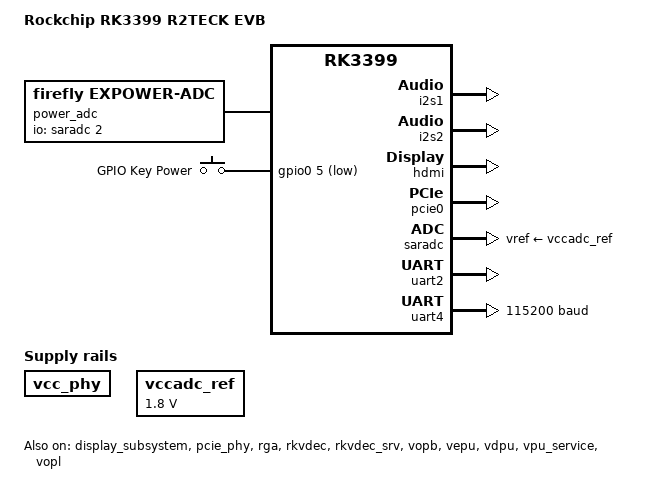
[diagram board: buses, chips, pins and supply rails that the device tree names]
/*
 * Copyright (c) 2018 SUMOMO Computer Association
 *
 * This file is dual-licensed: you can use it either under the terms
 * of the GPL or the X11 license, at your option. Note that this dual
 * licensing only applies to this file, and not this project as a
 * whole.
 *
 *  a) This file is free software; you can redistribute it and/or
 *     modify it under the terms of the GNU General Public License as
 *     published by the Free Software Foundation; either version 2 of the
 *     License, or (at your option) any later version.
 *
 *     This file is distributed in the hope that it will be useful,
 *     but WITHOUT ANY WARRANTY; without even the implied warranty of
 *     MERCHANTABILITY or FITNESS FOR A PARTICULAR PURPOSE.  See the
 *     GNU General Public License for more details.
 *
 * Or, alternatively,
 *
 *  b) Permission is hereby granted, free of charge, to any person
 *     obtaining a copy of this software and associated documentation
 *     files (the "Software"), to deal in the Software without
 *     restriction, including without limitation the rights to use,
 *     copy, modify, merge, publish, distribute, sublicense, and/or
 *     sell copies of the Software, and to permit persons to whom the
 *     Software is furnished to do so, subject to the following
 *     conditions:
 *
 *     The above copyright notice and this permission notice shall be
 *     included in all copies or substantial portions of the Software.
 *
 *     THE SOFTWARE IS PROVIDED "AS IS", WITHOUT WARRANTY OF ANY KIND,
 *     EXPRESS OR IMPLIED, INCLUDING BUT NOT LIMITED TO THE WARRANTIES
 *     OF MERCHANTABILITY, FITNESS FOR A PARTICULAR PURPOSE AND
 *     NONINFRINGEMENT. IN NO EVENT SHALL THE AUTHORS OR COPYRIGHT
 *     HOLDERS BE LIABLE FOR ANY CLAIM, DAMAGES OR OTHER LIABILITY,
 *     WHETHER IN AN ACTION OF CONTRACT, TORT OR OTHERWISE, ARISING
 *     FROM, OUT OF OR IN CONNECTION WITH THE SOFTWARE OR THE USE OR
 *     OTHER DEALINGS IN THE SOFTWARE.
 */

/dts-v1/;

#include "rk3399-excavator-sapphire.dtsi"
#include "rk3399-linux.dtsi"
#include <dt-bindings/input/input.h>

/ {
	model = "Rockchip RK3399 R2TECK EVB";
	compatible = "rockchip,rk3399-r2teck", "rockchip,rk3399";

	chosen {
		bootargs = "console=ttyS2,1500000 root=/dev/mmcblk1p7 rootwait init=/sbin/init";
		stdout-path = "serial2:1500000n8";
	};

	/* work */
	pwm_breathing_led: pwm_breathing_led {
		status = "disabled";
		compatible = "pwm-leds";
		pwms = <&pwm0 1 10000>;
		max-brightness = <127>;
	};

	/* freq switch and bind key */
	key_adc: key_adc {
		status = "disabled";
		compatible = "adc-keys";
		io-channels = <&saradc 1>;
		io-channel-names = "buttons";
	};

	/* power voltage */
	power_adc: power_adc {
		status = "okay";
		compatible = "firefly,expower-adc";
		io-channels = <&saradc 2>;
	};

	vcc_phy:vcc-phy-regulator {
		compatible = "regulator-fixed";
		regulator-name = "vcc_phy";
		regulator-always-on;
		regulator-boot-on;
	};


	hdmi_sound: hdmi-sound {
		status = "disabled";
		compatible = "simple-audio-card";
		simple-audio-card,format = "i2s";
		simple-audio-card,mclk-fs = <256>;
		simple-audio-card,name = "rockchip,hdmi";

		simple-audio-card,cpu {
			sound-dai = <&i2s2>;
		};
		simple-audio-card,codec {
			sound-dai = <&hdmi>;
		};
	};

	hdmi_codec: hdmi-codec {
		compatible = "simple-audio-card";
		simple-audio-card,format = "i2s";
		simple-audio-card,mclk-fs = <256 >;
		simple-audio-card,name = "HDMI-CODEC";

		simple-audio-card,cpu {
			sound-dai = <&i2s2>;
		};

		simple-audio-card,codec {
			sound-dai = <&hdmi>;
		};
	};

	gpio-keys {
		compatible = "gpio-keys";
		#address-cells = <1>;
		#size-cells = <0>;
		autorepeat;

		pinctrl-names = "default";
		pinctrl-0 = <&pwrbtn>;

		button@0 {
			gpios = <&gpio0 5 GPIO_ACTIVE_LOW>;
			linux,code = <KEY_POWER>;
			label = "GPIO Key Power";
			linux,input-type = <1>;
			gpio-key,wakeup = <1>;
			debounce-interval = <100>;
		};
	};

	vccadc_ref: vccadc-ref {
		compatible = "regulator-fixed";
		regulator-name = "vcc1v8_sys";
		regulator-always-on;
		regulator-boot-on;
		regulator-min-microvolt = <1800000>;
		regulator-max-microvolt = <1800000>;
	};

	wireless-wlan {
		status = "disabled";
	};
};

&cdn_dp {
	status = "disabled";
};

&cif_isp0 {
	status = "disabled";
};

&cif_isp1 {
	status = "disabled";
};

&display_subsystem {
	status = "okay";
};

&edp {
	status = "disabled";
};

&isp0_mmu {
	status = "disabled";
};

&isp1_mmu {
	status = "disabled";
};

&i2s1 {
	status = "okay";
	rockchip,i2s-broken-burst-len;
	rockchip,playback-channels = <2>;
	rockchip,capture-channels = <2>;
	#sound-dai-cells = <0>;
};

&i2s2 {
	status = "okay";
};

&hdmi {
	/* remove the hdmi_cec, reused by edp_hpd */
	pinctrl-0 = <&hdmi_i2c_xfer>;
	#address-cells = <1>;
	#size-cells = <0>;
	#sound-dai-cells = <0>;
	status = "okay";
};

&pcie_phy {
	status = "okay";
};

&pcie0 {
	status = "okay";
};

&rga {
	status = "okay";
};

&rkvdec {
	status = "okay";
};

&rkvdec_srv {
	status = "okay";
};

&route_edp {
	status = "disabled";
};

&saradc {
	vref-supply = <&vccadc_ref>;
};

&spi0 {
	status = "disabled";
};

&vopb {
	status = "okay";
};

&vopb_mmu {
	status = "okay";
};

&vepu {
	status = "okay";
};

&vdpu {
	status = "okay";
};

&vpu_service {
	status = "okay";
};

&vopl {
	status = "okay";
};

&vopl_mmu {
	status = "okay";
};

&uart2 {
	status = "okay";
};

&uart4 {
	current-speed = <115200>;
	no-loopback-test;
	status = "okay";
};

&pinctrl {
	buttons {
		pwrbtn: pwrbtn {
			rockchip,pins =
			    <0 5 RK_FUNC_GPIO &pcfg_pull_up>;
		};
	};
};
